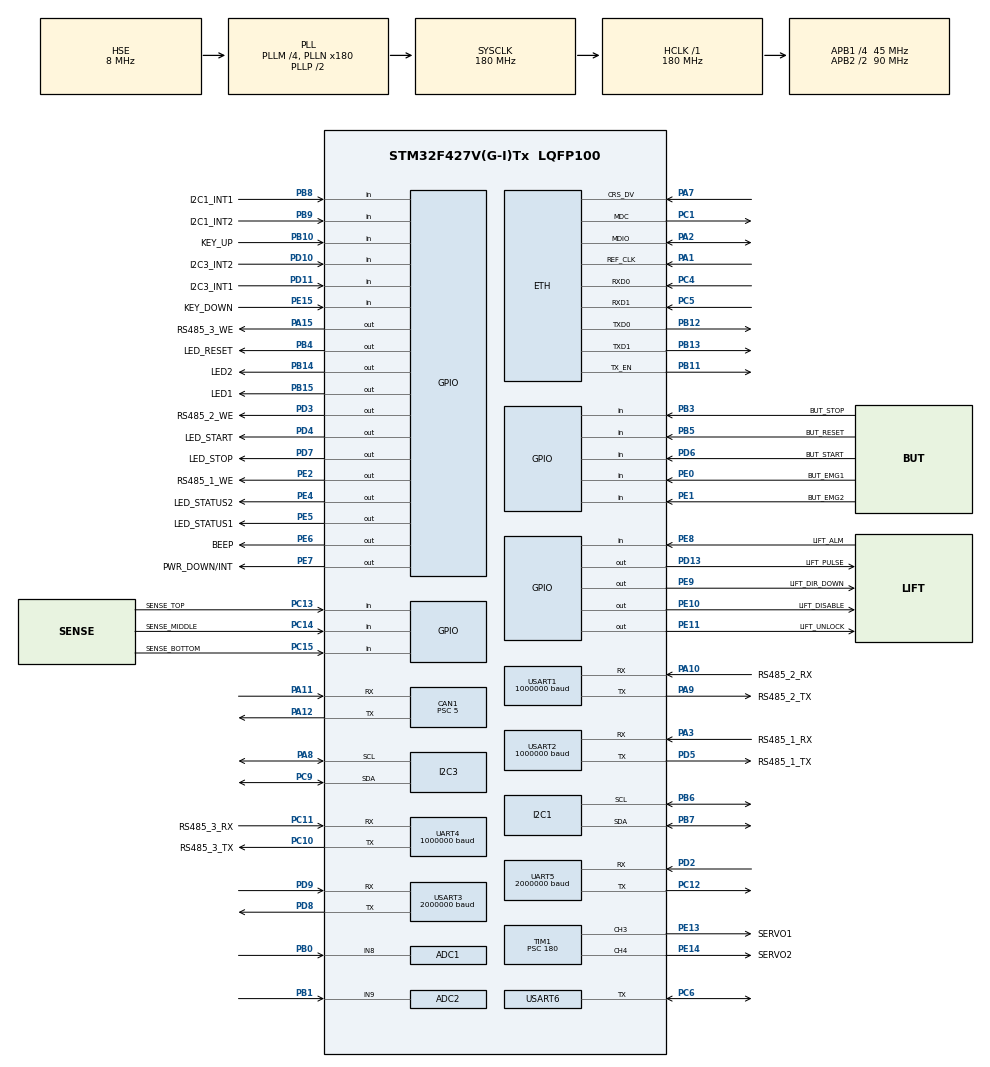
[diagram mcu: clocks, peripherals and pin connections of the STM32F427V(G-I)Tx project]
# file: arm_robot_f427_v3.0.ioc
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ADC1.Channel-0\#ChannelRegularConversion=ADC_CHANNEL_8
ADC1.ClockPrescaler=ADC_CLOCK_SYNC_PCLK_DIV8
ADC1.ContinuousConvMode=DISABLE
ADC1.DMAContinuousRequests=DISABLE
ADC1.DataAlign=ADC_DATAALIGN_RIGHT
ADC1.DiscontinuousConvMode=DISABLE
ADC1.EOCSelection=ADC_EOC_SINGLE_CONV
ADC1.EnableAnalogWatchDog=false
ADC1.ExternalTrigConv=ADC_SOFTWARE_START
ADC1.ExternalTrigConvEdge=ADC_EXTERNALTRIGCONVEDGE_NONE
ADC1.InjNumberOfConversion=0
ADC1.NbrOfConversion=1
ADC1.NbrOfConversionFlag=1
ADC1.Rank-0\#ChannelRegularConversion=1
ADC1.Resolution=ADC_RESOLUTION_12B
ADC1.SamplingTime-0\#ChannelRegularConversion=ADC_SAMPLETIME_480CYCLES
ADC1.ScanConvMode=DISABLE
ADC1.master=1
ADC2.Channel-0\#ChannelRegularConversion=ADC_CHANNEL_9
ADC2.ClockPrescaler=ADC_CLOCK_SYNC_PCLK_DIV8
ADC2.ContinuousConvMode=DISABLE
ADC2.DMAContinuousRequests=DISABLE
ADC2.DataAlign=ADC_DATAALIGN_RIGHT
ADC2.DiscontinuousConvMode=DISABLE
ADC2.EOCSelection=ADC_EOC_SINGLE_CONV
ADC2.EnableAnalogWatchDog=false
ADC2.ExternalTrigConv=ADC_SOFTWARE_START
ADC2.ExternalTrigConvEdge=ADC_EXTERNALTRIGCONVEDGE_NONE
ADC2.InjNumberOfConversion=0
ADC2.NbrOfConversion=1
ADC2.NbrOfConversionFlag=1
ADC2.Rank-0\#ChannelRegularConversion=1
ADC2.Resolution=ADC_RESOLUTION_12B
ADC2.SamplingTime-0\#ChannelRegularConversion=ADC_SAMPLETIME_480CYCLES
ADC2.ScanConvMode=DISABLE
CAN1.BS1=CAN_BS1_5TQ
CAN1.BS2=CAN_BS2_3TQ
CAN1.CalculateTimeQuantum=111.11111111111111
CAN1.Prescaler=5
CAN1.SJW=CAN_SJW_1TQ
Dma.Request0=UART4_RX
Dma.Request1=UART4_TX
Dma.Request10=USART6_RX
Dma.Request11=USART6_TX
Dma.Request2=UART5_RX
Dma.Request3=UART5_TX
Dma.Request4=USART2_RX
Dma.Request5=USART2_TX
Dma.Request6=USART3_RX
Dma.Request7=USART3_TX
Dma.Request8=USART1_RX
Dma.Request9=USART1_TX
Dma.UART4_RX.0.Direction=DMA_PERIPH_TO_MEMORY
Dma.UART4_RX.0.FIFOMode=DMA_FIFOMODE_DISABLE
Dma.UART4_RX.0.Instance=DMA1_Stream2
Dma.UART4_RX.0.MemDataAlignment=DMA_MDATAALIGN_BYTE
Dma.UART4_RX.0.MemInc=DMA_MINC_ENABLE
Dma.UART4_RX.0.Mode=DMA_CIRCULAR
Dma.UART4_RX.0.PeriphDataAlignment=DMA_PDATAALIGN_BYTE
Dma.UART4_RX.0.PeriphInc=DMA_PINC_DISABLE
Dma.UART4_RX.0.Priority=DMA_PRIORITY_LOW
Dma.UART4_TX.1.Direction=DMA_MEMORY_TO_PERIPH
Dma.UART4_TX.1.FIFOMode=DMA_FIFOMODE_DISABLE
Dma.UART4_TX.1.Instance=DMA1_Stream4
Dma.UART4_TX.1.MemDataAlignment=DMA_MDATAALIGN_BYTE
Dma.UART4_TX.1.MemInc=DMA_MINC_ENABLE
Dma.UART4_TX.1.Mode=DMA_NORMAL
Dma.UART4_TX.1.PeriphDataAlignment=DMA_PDATAALIGN_BYTE
Dma.UART4_TX.1.PeriphInc=DMA_PINC_DISABLE
Dma.UART4_TX.1.Priority=DMA_PRIORITY_LOW
Dma.UART5_RX.2.Direction=DMA_PERIPH_TO_MEMORY
Dma.UART5_RX.2.FIFOMode=DMA_FIFOMODE_DISABLE
Dma.UART5_RX.2.Instance=DMA1_Stream0
Dma.UART5_RX.2.MemDataAlignment=DMA_MDATAALIGN_BYTE
Dma.UART5_RX.2.MemInc=DMA_MINC_ENABLE
Dma.UART5_RX.2.Mode=DMA_CIRCULAR
Dma.UART5_RX.2.PeriphDataAlignment=DMA_PDATAALIGN_BYTE
Dma.UART5_RX.2.PeriphInc=DMA_PINC_DISABLE
Dma.UART5_RX.2.Priority=DMA_PRIORITY_HIGH
Dma.UART5_TX.3.Direction=DMA_MEMORY_TO_PERIPH
Dma.UART5_TX.3.FIFOMode=DMA_FIFOMODE_DISABLE
Dma.UART5_TX.3.Instance=DMA1_Stream7
Dma.UART5_TX.3.MemDataAlignment=DMA_MDATAALIGN_BYTE
Dma.UART5_TX.3.MemInc=DMA_MINC_ENABLE
Dma.UART5_TX.3.Mode=DMA_NORMAL
Dma.UART5_TX.3.PeriphDataAlignment=DMA_PDATAALIGN_BYTE
Dma.UART5_TX.3.PeriphInc=DMA_PINC_DISABLE
Dma.UART5_TX.3.Priority=DMA_PRIORITY_HIGH
Dma.USART1_RX.8.Direction=DMA_PERIPH_TO_MEMORY
Dma.USART1_RX.8.FIFOMode=DMA_FIFOMODE_DISABLE
Dma.USART1_RX.8.Instance=DMA2_Stream2
Dma.USART1_RX.8.MemDataAlignment=DMA_MDATAALIGN_BYTE
Dma.USART1_RX.8.MemInc=DMA_MINC_ENABLE
Dma.USART1_RX.8.Mode=DMA_CIRCULAR
Dma.USART1_RX.8.PeriphDataAlignment=DMA_PDATAALIGN_BYTE
Dma.USART1_RX.8.PeriphInc=DMA_PINC_DISABLE
Dma.USART1_RX.8.Priority=DMA_PRIORITY_LOW
Dma.USART1_TX.9.Direction=DMA_MEMORY_TO_PERIPH
Dma.USART1_TX.9.FIFOMode=DMA_FIFOMODE_DISABLE
Dma.USART1_TX.9.Instance=DMA2_Stream7
Dma.USART1_TX.9.MemDataAlignment=DMA_MDATAALIGN_BYTE
Dma.USART1_TX.9.MemInc=DMA_MINC_ENABLE
Dma.USART1_TX.9.Mode=DMA_NORMAL
Dma.USART1_TX.9.PeriphDataAlignment=DMA_PDATAALIGN_BYTE
Dma.USART1_TX.9.PeriphInc=DMA_PINC_DISABLE
Dma.USART1_TX.9.Priority=DMA_PRIORITY_LOW
Dma.USART2_RX.4.Direction=DMA_PERIPH_TO_MEMORY
Dma.USART2_RX.4.FIFOMode=DMA_FIFOMODE_DISABLE
Dma.USART2_RX.4.Instance=DMA1_Stream5
Dma.USART2_RX.4.MemDataAlignment=DMA_MDATAALIGN_BYTE
Dma.USART2_RX.4.MemInc=DMA_MINC_ENABLE
Dma.USART2_RX.4.Mode=DMA_CIRCULAR
Dma.USART2_RX.4.PeriphDataAlignment=DMA_PDATAALIGN_BYTE
Dma.USART2_RX.4.PeriphInc=DMA_PINC_DISABLE
Dma.USART2_RX.4.Priority=DMA_PRIORITY_LOW
Dma.USART2_TX.5.Direction=DMA_MEMORY_TO_PERIPH
Dma.USART2_TX.5.FIFOMode=DMA_FIFOMODE_DISABLE
Dma.USART2_TX.5.Instance=DMA1_Stream6
Dma.USART2_TX.5.MemDataAlignment=DMA_MDATAALIGN_BYTE
Dma.USART2_TX.5.MemInc=DMA_MINC_ENABLE
Dma.USART2_TX.5.Mode=DMA_NORMAL
Dma.USART2_TX.5.PeriphDataAlignment=DMA_PDATAALIGN_BYTE
Dma.USART2_TX.5.PeriphInc=DMA_PINC_DISABLE
Dma.USART2_TX.5.Priority=DMA_PRIORITY_LOW
Dma.USART3_RX.6.Direction=DMA_PERIPH_TO_MEMORY
Dma.USART3_RX.6.FIFOMode=DMA_FIFOMODE_DISABLE
Dma.USART3_RX.6.Instance=DMA1_Stream1
Dma.USART3_RX.6.MemDataAlignment=DMA_MDATAALIGN_BYTE
Dma.USART3_RX.6.MemInc=DMA_MINC_ENABLE
Dma.USART3_RX.6.Mode=DMA_CIRCULAR
Dma.USART3_RX.6.PeriphDataAlignment=DMA_PDATAALIGN_BYTE
Dma.USART3_RX.6.PeriphInc=DMA_PINC_DISABLE
Dma.USART3_RX.6.Priority=DMA_PRIORITY_LOW
Dma.USART3_TX.7.Direction=DMA_MEMORY_TO_PERIPH
Dma.USART3_TX.7.FIFOMode=DMA_FIFOMODE_DISABLE
Dma.USART3_TX.7.Instance=DMA1_Stream3
Dma.USART3_TX.7.MemDataAlignment=DMA_MDATAALIGN_BYTE
Dma.USART3_TX.7.MemInc=DMA_MINC_ENABLE
Dma.USART3_TX.7.Mode=DMA_NORMAL
Dma.USART3_TX.7.PeriphDataAlignment=DMA_PDATAALIGN_BYTE
Dma.USART3_TX.7.PeriphInc=DMA_PINC_DISABLE
Dma.USART3_TX.7.Priority=DMA_PRIORITY_LOW
Dma.USART6_RX.10.Direction=DMA_PERIPH_TO_MEMORY
Dma.USART6_RX.10.FIFOMode=DMA_FIFOMODE_DISABLE
Dma.USART6_RX.10.Instance=DMA2_Stream1
Dma.USART6_RX.10.MemDataAlignment=DMA_MDATAALIGN_BYTE
Dma.USART6_RX.10.MemInc=DMA_MINC_ENABLE
Dma.USART6_RX.10.Mode=DMA_CIRCULAR
Dma.USART6_RX.10.PeriphDataAlignment=DMA_PDATAALIGN_BYTE
Dma.USART6_RX.10.PeriphInc=DMA_PINC_DISABLE
Dma.USART6_RX.10.Priority=DMA_PRIORITY_LOW
Dma.USART6_TX.11.Direction=DMA_MEMORY_TO_PERIPH
Dma.USART6_TX.11.FIFOMode=DMA_FIFOMODE_DISABLE
Dma.USART6_TX.11.Instance=DMA2_Stream6
Dma.USART6_TX.11.MemDataAlignment=DMA_MDATAALIGN_BYTE
Dma.USART6_TX.11.MemInc=DMA_MINC_ENABLE
Dma.USART6_TX.11.Mode=DMA_NORMAL
Dma.USART6_TX.11.PeriphDataAlignment=DMA_PDATAALIGN_BYTE
Dma.USART6_TX.11.PeriphInc=DMA_PINC_DISABLE
Dma.USART6_TX.11.Priority=DMA_PRIORITY_LOW
ETH.MediaInterface=ETH_MEDIA_INTERFACE_RMII
ETH.PHY_Name_RMII=userPHY
ETH.PHY_User_Name=DP83848CVV
ETH.PhyAddress=1
FREERTOS.Tasks01=defaultTask,0,2048,StartDefaultTask,Default,NULL,Dynamic,NULL,NULL
I2C1.I2C_Mode=I2C_Fast
I2C3.I2C_Mode=I2C_Fast
IWDG.Prescaler=IWDG_PRESCALER_8
IWDG.Reload=4095
LWIP.CHECKSUM_BY_HARDWARE=1
LWIP.GATEWAY_ADDRESS=192.168.123.001
LWIP.IP_ADDRESS=192.168.123.003
LWIP.LWIP_COMPAT_SOCKETS=0
LWIP.LWIP_DBG_MIN_LEVEL=LWIP_DBG_LEVEL_SERIOUS
LWIP.LWIP_DHCP=0
LWIP.LWIP_DNS=0
LWIP.LWIP_NETCONN=1
LWIP.LWIP_NETIF_LINK_CALLBACK=1
LWIP.LWIP_NETIF_LOOPBACK=0
LWIP.LWIP_NETIF_STATUS_CALLBACK=1
LWIP.LWIP_POSIX_SOCKETS_IO_NAMES=0
LWIP.LWIP_SOCKET=1
LWIP.LWIP_SOCKET_OFFSET=0
LWIP.MEMP_MEM_MALLOC=0
LWIP.MEMP_NUM_PBUF=4
LWIP.MEMP_NUM_RAW_PCB=2
LWIP.MEMP_NUM_TCP_PCB=2
LWIP.MEMP_NUM_TCP_PCB_LISTEN=2
LWIP.MEMP_NUM_UDP_PCB=2
LWIP.MEM_LIBC_MALLOC=1
LWIP.MEM_SIZE=4096
LWIP.NETMASK_ADDRESS=255.255.255.000
LWIP.PBUF_POOL_BUFSIZE=1024
LWIP.TCP_SND_BUF=2048
LWIP.Version=v2.0.3_Cube
Mcu.Family=STM32F4
Mcu.Name=STM32F427V(G-I)Tx
Mcu.Package=LQFP100
Mcu.UserConstants=configUSE_NEWLIB_REENTRANT,1;LWIP_POSIX_SOCKETS_IO_NAMES,0
NVIC.CAN1_RX0_IRQn=true\:5\:0\:true\:false\:true\:true\:true
NVIC.CAN1_RX1_IRQn=true\:5\:0\:true\:false\:true\:true\:true
NVIC.CAN1_SCE_IRQn=true\:5\:0\:true\:false\:true\:true\:true
NVIC.CAN1_TX_IRQn=true\:5\:0\:true\:false\:true\:true\:true
NVIC.DMA1_Stream0_IRQn=true\:5\:0\:true\:false\:true\:true\:false
NVIC.DMA1_Stream1_IRQn=true\:5\:0\:true\:false\:true\:true\:false
NVIC.DMA1_Stream2_IRQn=true\:5\:0\:false\:false\:true\:true\:false
NVIC.DMA1_Stream3_IRQn=true\:5\:0\:true\:false\:true\:true\:false
NVIC.DMA1_Stream4_IRQn=true\:5\:0\:false\:false\:true\:true\:false
NVIC.DMA1_Stream5_IRQn=true\:5\:0\:false\:false\:true\:true\:false
NVIC.DMA1_Stream6_IRQn=true\:5\:0\:false\:false\:true\:true\:false
NVIC.DMA1_Stream7_IRQn=true\:5\:0\:true\:false\:true\:true\:false
NVIC.DMA2_Stream1_IRQn=true\:5\:0\:false\:false\:true\:true\:false
NVIC.DMA2_Stream2_IRQn=true\:5\:0\:true\:false\:true\:true\:false
NVIC.DMA2_Stream6_IRQn=true\:5\:0\:false\:false\:true\:true\:false
NVIC.DMA2_Stream7_IRQn=true\:5\:0\:true\:false\:true\:true\:false
NVIC.ETH_IRQn=true\:5\:0\:false\:false\:true\:true\:true
NVIC.I2C3_ER_IRQn=true\:5\:0\:false\:false\:true\:true\:true
NVIC.I2C3_EV_IRQn=true\:5\:0\:false\:false\:true\:true\:true
NVIC.PriorityGroup=NVIC_PRIORITYGROUP_4
NVIC.TIM3_IRQn=true\:5\:0\:false\:false\:true\:true\:true
NVIC.TIM8_TRG_COM_TIM14_IRQn=true\:0\:0\:false\:false\:true\:false\:false
NVIC.TimeBase=TIM8_TRG_COM_TIM14_IRQn
NVIC.TimeBaseIP=TIM14
NVIC.UART4_IRQn=true\:5\:0\:false\:false\:true\:true\:true
NVIC.UART5_IRQn=true\:5\:0\:true\:false\:true\:true\:true
NVIC.USART1_IRQn=true\:5\:0\:true\:false\:true\:true\:true
NVIC.USART2_IRQn=true\:5\:0\:false\:false\:true\:true\:true
NVIC.USART3_IRQn=true\:5\:0\:true\:false\:true\:true\:true
NVIC.USART6_IRQn=true\:5\:0\:false\:false\:true\:true\:true
PA1.Mode=RMII
PA1.Signal=ETH_REF_CLK
PA10.GPIO_Label=RS485_2_RX
PA10.Mode=Asynchronous
PA10.Signal=USART1_RX
PA11.Mode=Master
PA11.Signal=CAN1_RX
PA12.Mode=Master
PA12.Signal=CAN1_TX
PA13.Mode=Serial_Wire
PA13.Signal=SYS_JTMS-SWDIO
PA14.Mode=Serial_Wire
PA14.Signal=SYS_JTCK-SWCLK
PA15.GPIO_Label=RS485_3_WE
PA15.GPIO_Speed=GPIO_SPEED_FREQ_VERY_HIGH
PA15.PinState=GPIO_PIN_SET
PA15.Signal=GPIO_Output
PA2.Mode=RMII
PA2.Signal=ETH_MDIO
PA3.GPIO_Label=RS485_1_RX
PA3.Mode=Asynchronous
PA3.Signal=USART2_RX
PA7.Mode=RMII
PA7.Signal=ETH_CRS_DV
PA8.Mode=I2C
PA8.Signal=I2C3_SCL
PA9.GPIO_Label=RS485_2_TX
PA9.Mode=Asynchronous
PA9.Signal=USART1_TX
PB0.Signal=ADCx_IN8
PB1.Signal=ADCx_IN9
PB10.GPIO_Label=KEY_UP
PB10.Signal=GPIO_Input
PB11.Mode=RMII
PB11.Signal=ETH_TX_EN
PB12.Mode=RMII
PB12.Signal=ETH_TXD0
PB13.Mode=RMII
PB13.Signal=ETH_TXD1
PB14.GPIO_Label=LED2
PB14.Signal=GPIO_Output
PB15.GPIO_Label=LED1
PB15.Signal=GPIO_Output
PB3.GPIO_Label=BUT_STOP
PB3.Signal=GPIO_Input
PB4.GPIO_Label=LED_RESET
PB4.PinState=GPIO_PIN_SET
PB4.Signal=GPIO_Output
PB5.GPIO_Label=BUT_RESET
PB5.Signal=GPIO_Input
PB6.Mode=I2C
PB6.Signal=I2C1_SCL
PB7.Mode=I2C
PB7.Signal=I2C1_SDA
PB8.GPIO_Label=I2C1_INT1
PB8.Signal=GPIO_Input
PB9.GPIO_Label=I2C1_INT2
PB9.Signal=GPIO_Input
PC1.Mode=RMII
PC1.Signal=ETH_MDC
PC10.GPIO_Label=RS485_3_TX
PC10.Mode=Asynchronous
PC10.Signal=UART4_TX
PC11.GPIO_Label=RS485_3_RX
PC11.Mode=Asynchronous
PC11.Signal=UART4_RX
PC12.Mode=Asynchronous
PC12.Signal=UART5_TX
PC13.GPIO_Label=SENSE_TOP
PC13.Signal=GPIO_Input
PC14/OSC32_IN.GPIO_Label=SENSE_MIDDLE
PC14/OSC32_IN.Signal=GPIO_Input
PC15/OSC32_OUT.GPIO_Label=SENSE_BOTTOM
PC15/OSC32_OUT.Signal=GPIO_Input
PC4.Mode=RMII
PC4.Signal=ETH_RXD0
PC5.Mode=RMII
PC5.Signal=ETH_RXD1
PC6.GPIO_PuPdOD=GPIO_PULLUP
PC6.Mode=Half_duplex(single_wire_mode)
PC6.Signal=USART6_TX
PC9.Mode=I2C
PC9.Signal=I2C3_SDA
PD10.GPIO_Label=I2C3_INT2
PD10.Signal=GPIO_Input
PD11.GPIO_Label=I2C3_INT1
PD11.Signal=GPIO_Input
PD13.GPIO_Label=LIFT_PULSE
PD13.GPIO_Speed=GPIO_SPEED_FREQ_VERY_HIGH
PD13.Signal=GPIO_Output
PD2.Mode=Asynchronous
PD2.Signal=UART5_RX
PD3.GPIO_Label=RS485_2_WE
PD3.GPIO_Speed=GPIO_SPEED_FREQ_VERY_HIGH
PD3.PinState=GPIO_PIN_SET
PD3.Signal=GPIO_Output
PD4.GPIO_Label=LED_START
PD4.PinState=GPIO_PIN_SET
PD4.Signal=GPIO_Output
PD5.GPIO_Label=RS485_1_TX
PD5.Mode=Asynchronous
PD5.Signal=USART2_TX
PD6.GPIO_Label=BUT_START
PD6.Signal=GPIO_Input
PD7.GPIO_Label=LED_STOP
PD7.PinState=GPIO_PIN_SET
PD7.Signal=GPIO_Output
PD8.Mode=Asynchronous
PD8.Signal=USART3_TX
PD9.Mode=Asynchronous
PD9.Signal=USART3_RX
PE0.GPIO_Label=BUT_EMG1
PE0.Signal=GPIO_Input
PE1.GPIO_Label=BUT_EMG2
PE1.Signal=GPIO_Input
PE10.GPIO_Label=LIFT_DISABLE
PE10.GPIO_Speed=GPIO_SPEED_FREQ_VERY_HIGH
PE10.PinState=GPIO_PIN_SET
PE10.Signal=GPIO_Output
PE11.GPIO_Label=LIFT_UNLOCK
PE11.PinState=GPIO_PIN_SET
PE11.Signal=GPIO_Output
PE13.GPIO_Label=SERVO1
PE13.Signal=S_TIM1_CH3
PE14.GPIO_Label=SERVO2
PE14.Signal=S_TIM1_CH4
PE15.GPIO_Label=KEY_DOWN
PE15.Signal=GPIO_Input
PE2.GPIO_Label=RS485_1_WE
PE2.GPIO_Speed=GPIO_SPEED_FREQ_VERY_HIGH
PE2.PinState=GPIO_PIN_SET
PE2.Signal=GPIO_Output
PE4.GPIO_Label=LED_STATUS2
PE4.PinState=GPIO_PIN_SET
PE4.Signal=GPIO_Output
PE5.GPIO_Label=LED_STATUS1
PE5.PinState=GPIO_PIN_SET
PE5.Signal=GPIO_Output
PE6.GPIO_Label=BEEP
PE6.PinState=GPIO_PIN_SET
PE6.Signal=GPIO_Output
PE7.GPIO_Label=PWR_DOWN/INT
PE7.PinState=GPIO_PIN_SET
PE7.Signal=GPIO_Output
PE8.GPIO_Label=LIFT_ALM
PE8.Signal=GPIO_Input
PE9.GPIO_Label=LIFT_DIR_DOWN
PE9.GPIO_Speed=GPIO_SPEED_FREQ_VERY_HIGH
PE9.Signal=GPIO_Output
PH0/OSC_IN.Mode=HSE-External-Oscillator
PH0/OSC_IN.Signal=RCC_OSC_IN
PH1/OSC_OUT.Mode=HSE-External-Oscillator
PH1/OSC_OUT.Signal=RCC_OSC_OUT
ProjectManager.HeapSize=0x10000
ProjectManager.StackSize=0x1000
ProjectManager.TargetToolchain=SW4STM32
RCC.48MHZClocksFreq_Value=90000000
RCC.AHBFreq_Value=180000000
RCC.APB1CLKDivider=RCC_HCLK_DIV4
RCC.APB1Freq_Value=45000000
RCC.APB1TimFreq_Value=90000000
RCC.APB2CLKDivider=RCC_HCLK_DIV2
RCC.APB2Freq_Value=90000000
RCC.APB2TimFreq_Value=180000000
RCC.CortexFreq_Value=180000000
RCC.HCLKFreq_Value=180000000
RCC.HSE_VALUE=8000000
RCC.HSI_VALUE=16000000
RCC.LSE_VALUE=32768
RCC.PLLM=4
RCC.PLLN=180
RCC.PLLSourceVirtual=RCC_PLLSOURCE_HSE
RCC.SYSCLKFreq_VALUE=180000000
RCC.SYSCLKSource=RCC_SYSCLKSOURCE_PLLCLK
RCC.VCOOutputFreq_Value=360000000
SH.ADCx_IN8.0=ADC1_IN8,IN8
SH.ADCx_IN9.0=ADC2_IN9,IN9
SH.S_TIM1_CH3.0=TIM1_CH3,PWM Generation3 CH3
SH.S_TIM1_CH4.0=TIM1_CH4,PWM Generation4 CH4
TIM1.Channel-PWM\ Generation3\ CH3=TIM_CHANNEL_3
TIM1.Channel-PWM\ Generation4\ CH4=TIM_CHANNEL_4
TIM1.Period=20000
TIM1.Prescaler=180
TIM1.Pulse-PWM\ Generation3\ CH3=1500
TIM1.Pulse-PWM\ Generation4\ CH4=1500
TIM3.Channel-Output\ Compare2\ No\ Output=TIM_CHANNEL_2
TIM3.Period=0xFFFF
TIM3.Prescaler=90-1
UART4.BaudRate=1000000
UART4.VirtualMode=Asynchronous
UART5.BaudRate=2000000
UART5.VirtualMode=Asynchronous
USART1.BaudRate=1000000
USART1.VirtualMode=VM_ASYNC
USART2.BaudRate=1000000
USART2.VirtualMode=VM_ASYNC
USART3.BaudRate=2000000
USART3.VirtualMode=VM_ASYNC
USART6.BaudRate=1000000
USART6.VirtualMode=VM_ASYNC
VP_CRC_VS_CRC.Mode=CRC_Activate
VP_FREERTOS_VS_ENABLE.Mode=Enabled
VP_IWDG_VS_IWDG.Mode=IWDG_Activate
VP_LWIP_VS_Enabled.Mode=Enabled
VP_SYS_VS_tim14.Mode=TIM14
VP_TIM3_VS_ClockSourceINT.Mode=Internal
VP_TIM3_VS_no_output2.Mode=Output Compare2 No Output
board=custom

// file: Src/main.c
/**
  ******************************************************************************
  * @file           : main.c
  * @brief          : Main program body
  ******************************************************************************
  * This notice applies to any and all portions of this file
  * that are not between comment pairs USER CODE BEGIN and
  * USER CODE END. Other portions of this file, whether
  * inserted by the user or by software development tools
  * are owned by their respective copyright owners.
  *
  * Copyright (c) 2018 STMicroelectronics International N.V.
  * All rights reserved.
  *
  * Redistribution and use in source and binary forms, with or without
  * modification, are permitted, provided that the following conditions are met:
  *
  * 1. Redistribution of source code must retain the above copyright notice,
  *    this list of conditions and the following disclaimer.
  * 2. Redistributions in binary form must reproduce the above copyright notice,
  *    this list of conditions and the following disclaimer in the documentation
  *    and/or other materials provided with the distribution.
  * 3. Neither the name of STMicroelectronics nor the names of other
  *    contributors to this software may be used to endorse or promote products
  *    derived from this software without specific written permission.
  * 4. This software, including modifications and/or derivative works of this
  *    software, must execute solely and exclusively on microcontroller or
  *    microprocessor devices manufactured by or for STMicroelectronics.
  * 5. Redistribution and use of this software other than as permitted under
  *    this license is void and will automatically terminate your rights under
  *    this license.
  *
  * THIS SOFTWARE IS PROVIDED BY STMICROELECTRONICS AND CONTRIBUTORS "AS IS"
  * AND ANY EXPRESS, IMPLIED OR STATUTORY WARRANTIES, INCLUDING, BUT NOT
  * LIMITED TO, THE IMPLIED WARRANTIES OF MERCHANTABILITY, FITNESS FOR A
  * PARTICULAR PURPOSE AND NON-INFRINGEMENT OF THIRD PARTY INTELLECTUAL PROPERTY
  * RIGHTS ARE DISCLAIMED TO THE FULLEST EXTENT PERMITTED BY LAW. IN NO EVENT
  * SHALL STMICROELECTRONICS OR CONTRIBUTORS BE LIABLE FOR ANY DIRECT, INDIRECT,
  * INCIDENTAL, SPECIAL, EXEMPLARY, OR CONSEQUENTIAL DAMAGES (INCLUDING, BUT NOT
  * LIMITED TO, PROCUREMENT OF SUBSTITUTE GOODS OR SERVICES; LOSS OF USE, DATA,
  * OR PROFITS; OR BUSINESS INTERRUPTION) HOWEVER CAUSED AND ON ANY THEORY OF
  * LIABILITY, WHETHER IN CONTRACT, STRICT LIABILITY, OR TORT (INCLUDING
  * NEGLIGENCE OR OTHERWISE) ARISING IN ANY WAY OUT OF THE USE OF THIS SOFTWARE,
  * EVEN IF ADVISED OF THE POSSIBILITY OF SUCH DAMAGE.
  *
  ******************************************************************************
  */
#include "main.h"
#include "stm32f4xx_hal.h"
#include "cmsis_os.h"
#include "adc.h"
#include "can.h"
#include "crc.h"
#include "dma.h"
#include "i2c.h"
#include "iwdg.h"
#include "lwip.h"
#include "tim.h"
#include "usart.h"
#include "gpio.h"

/* USER CODE BEGIN PV */
/* Private variables ---------------------------------------------------------*/

/* USER CODE END PV */

void SystemClock_Config(void);
void MX_FREERTOS_Init(void);

/* USER CODE BEGIN PFP */
/* Private function prototypes -----------------------------------------------*/
int stdout_putchar(int ch) {
    return 0;
}

/* USER CODE END PFP */

int main(void)
{

  /* MCU Configuration----------------------------------------------------------*/

  /* Reset of all peripherals, Initializes the Flash interface and the Systick. */
  HAL_Init();

  /* Configure the system clock */
  SystemClock_Config();

  /* Initialize all configured peripherals */
  MX_GPIO_Init();
  MX_DMA_Init();
  MX_ADC1_Init();
  MX_ADC2_Init();
  MX_CAN1_Init();
  MX_I2C1_Init();
  MX_TIM1_Init();
  MX_TIM3_Init();
  MX_UART5_Init();
  MX_USART1_UART_Init();
  MX_USART3_UART_Init();
  MX_USART6_UART_Init();
  MX_UART4_Init();
  MX_USART2_UART_Init();
  MX_I2C3_Init();
  MX_CRC_Init();
  /* USER CODE BEGIN 2 */
    HAL_GPIO_WritePin(LED1_GPIO_Port, LED1_Pin, GPIO_PIN_RESET);
    HAL_GPIO_WritePin(LED2_GPIO_Port, LED2_Pin, GPIO_PIN_SET);

    // Newlib malloc may call _sbrk(0x2000F000) which cause HardFault_Error
    // To avoid above error, we should firstly malloc a suitable memory and then free it.
    for (size_t s = 1024;; s *= 2) {
        void *p = malloc(s);
        if (p)
            free(p);
        else
            break;
    }

    // std::cout always use stdout of global thread (struct _reent->_stdout).
    // But printf() (or other write function of libc) always use stdout of local thread.
    // Only printf() (or other write function of libc) can automatic init stdout using __sinit()
    // so we need to call any write function of libc to initialize stdout of global thread in order to using std:cout
    // PS: With newlib, cout is not thread-safe!!! But printf is thread-safe (line buffered) :)
    fwrite("", sizeof(uint8_t), 0, stdout);
    char ch;
    fread(&ch, 1, 1, stdin);

  /* USER CODE END 2 */

  /* Call init function for freertos objects (in freertos.c) */
  MX_FREERTOS_Init();

  /* Start scheduler */
  osKernelStart();

  /* We should never get here as control is now taken by the scheduler */

  /* Infinite loop */
    while (1) {

    }

}

void SystemClock_Config(void)
{

  RCC_OscInitTypeDef RCC_OscInitStruct;
  RCC_ClkInitTypeDef RCC_ClkInitStruct;

    /**Configure the main internal regulator output voltage
    */
  __HAL_RCC_PWR_CLK_ENABLE();

  __HAL_PWR_VOLTAGESCALING_CONFIG(PWR_REGULATOR_VOLTAGE_SCALE1);

    /**Initializes the CPU, AHB and APB busses clocks
    */
  RCC_OscInitStruct.OscillatorType = RCC_OSCILLATORTYPE_LSI|RCC_OSCILLATORTYPE_HSE;
  RCC_OscInitStruct.HSEState = RCC_HSE_ON;
  RCC_OscInitStruct.LSIState = RCC_LSI_ON;
  RCC_OscInitStruct.PLL.PLLState = RCC_PLL_ON;
  RCC_OscInitStruct.PLL.PLLSource = RCC_PLLSOURCE_HSE;
  RCC_OscInitStruct.PLL.PLLM = 4;
  RCC_OscInitStruct.PLL.PLLN = 180;
  RCC_OscInitStruct.PLL.PLLP = RCC_PLLP_DIV2;
  RCC_OscInitStruct.PLL.PLLQ = 4;
  if (HAL_RCC_OscConfig(&RCC_OscInitStruct) != HAL_OK)
  {
    _Error_Handler(__FILE__, __LINE__);
  }

    /**Activate the Over-Drive mode
    */
  if (HAL_PWREx_EnableOverDrive() != HAL_OK)
  {
    _Error_Handler(__FILE__, __LINE__);
  }

    /**Initializes the CPU, AHB and APB busses clocks
    */
  RCC_ClkInitStruct.ClockType = RCC_CLOCKTYPE_HCLK|RCC_CLOCKTYPE_SYSCLK
                              |RCC_CLOCKTYPE_PCLK1|RCC_CLOCKTYPE_PCLK2;
  RCC_ClkInitStruct.SYSCLKSource = RCC_SYSCLKSOURCE_PLLCLK;
  RCC_ClkInitStruct.AHBCLKDivider = RCC_SYSCLK_DIV1;
  RCC_ClkInitStruct.APB1CLKDivider = RCC_HCLK_DIV4;
  RCC_ClkInitStruct.APB2CLKDivider = RCC_HCLK_DIV2;

  if (HAL_RCC_ClockConfig(&RCC_ClkInitStruct, FLASH_LATENCY_5) != HAL_OK)
  {
    _Error_Handler(__FILE__, __LINE__);
  }

    /**Configure the Systick interrupt time
    */
  HAL_SYSTICK_Config(HAL_RCC_GetHCLKFreq()/1000);

    /**Configure the Systick
    */
  HAL_SYSTICK_CLKSourceConfig(SYSTICK_CLKSOURCE_HCLK);

  /* SysTick_IRQn interrupt configuration */
  HAL_NVIC_SetPriority(SysTick_IRQn, 15, 0);
}

void HAL_TIM_PeriodElapsedCallback(TIM_HandleTypeDef *htim)
{
  if (htim->Instance == TIM14) {
    HAL_IncTick();
  }
}

void _Error_Handler(char *file, int line)
{
    while (1) {
    }
}

/************************ (C) COPYRIGHT STMicroelectronics *****END OF FILE****/

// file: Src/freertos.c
/**
  ******************************************************************************
  * File Name          : freertos.c
  * Description        : Code for freertos applications
  ******************************************************************************
  * This notice applies to any and all portions of this file
  * that are not between comment pairs USER CODE BEGIN and
  * USER CODE END. Other portions of this file, whether
  * inserted by the user or by software development tools
  * are owned by their respective copyright owners.
  *
  * Copyright (c) 2018 STMicroelectronics International N.V.
  * All rights reserved.
  *
  * Redistribution and use in source and binary forms, with or without
  * modification, are permitted, provided that the following conditions are met:
  *
  * 1. Redistribution of source code must retain the above copyright notice,
  *    this list of conditions and the following disclaimer.
  * 2. Redistributions in binary form must reproduce the above copyright notice,
  *    this list of conditions and the following disclaimer in the documentation
  *    and/or other materials provided with the distribution.
  * 3. Neither the name of STMicroelectronics nor the names of other
  *    contributors to this software may be used to endorse or promote products
  *    derived from this software without specific written permission.
  * 4. This software, including modifications and/or derivative works of this
  *    software, must execute solely and exclusively on microcontroller or
  *    microprocessor devices manufactured by or for STMicroelectronics.
  * 5. Redistribution and use of this software other than as permitted under
  *    this license is void and will automatically terminate your rights under
  *    this license.
  *
  * THIS SOFTWARE IS PROVIDED BY STMICROELECTRONICS AND CONTRIBUTORS "AS IS"
  * AND ANY EXPRESS, IMPLIED OR STATUTORY WARRANTIES, INCLUDING, BUT NOT
  * LIMITED TO, THE IMPLIED WARRANTIES OF MERCHANTABILITY, FITNESS FOR A
  * PARTICULAR PURPOSE AND NON-INFRINGEMENT OF THIRD PARTY INTELLECTUAL PROPERTY
  * RIGHTS ARE DISCLAIMED TO THE FULLEST EXTENT PERMITTED BY LAW. IN NO EVENT
  * SHALL STMICROELECTRONICS OR CONTRIBUTORS BE LIABLE FOR ANY DIRECT, INDIRECT,
  * INCIDENTAL, SPECIAL, EXEMPLARY, OR CONSEQUENTIAL DAMAGES (INCLUDING, BUT NOT
  * LIMITED TO, PROCUREMENT OF SUBSTITUTE GOODS OR SERVICES; LOSS OF USE, DATA,
  * OR PROFITS; OR BUSINESS INTERRUPTION) HOWEVER CAUSED AND ON ANY THEORY OF
  * LIABILITY, WHETHER IN CONTRACT, STRICT LIABILITY, OR TORT (INCLUDING
  * NEGLIGENCE OR OTHERWISE) ARISING IN ANY WAY OUT OF THE USE OF THIS SOFTWARE,
  * EVEN IF ADVISED OF THE POSSIBILITY OF SUCH DAMAGE.
  *
  ******************************************************************************
  */

#include "FreeRTOS.h"
#include "task.h"
#include "cmsis_os.h"

/* USER CODE BEGIN Includes */
#include <lwip/sockets.h>
/* USER CODE END Includes */

osThreadId defaultTaskHandle;

/* USER CODE BEGIN Variables */
extern int mainpp();
/* USER CODE END Variables */

void StartDefaultTask(void const * argument);

extern void MX_LWIP_Init(void);
void MX_FREERTOS_Init(void); /* (MISRA C 2004 rule 8.1) */

/* Hook prototypes */

/* Init FreeRTOS */

void MX_FREERTOS_Init(void) {

  /* Create the thread(s) */
  /* definition and creation of defaultTask */
  osThreadDef(defaultTask, StartDefaultTask, osPriorityNormal, 0, 2048);
  defaultTaskHandle = osThreadCreate(osThread(defaultTask), NULL);

}

/* StartDefaultTask function */
void StartDefaultTask(void const * argument)
{
  /* init code for LWIP */
  MX_LWIP_Init();

  /* USER CODE BEGIN StartDefaultTask */
    mainpp();
  /* USER CODE END StartDefaultTask */
}

/************************ (C) COPYRIGHT STMicroelectronics *****END OF FILE****/
